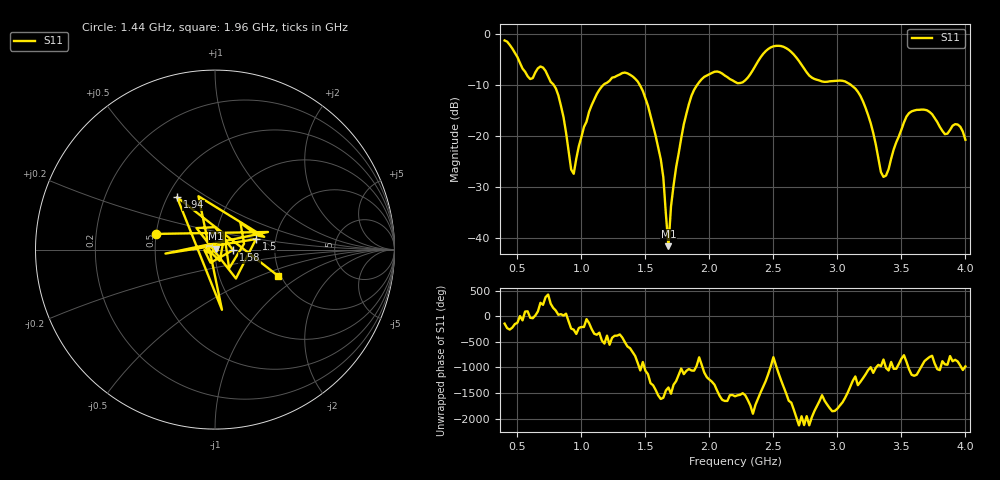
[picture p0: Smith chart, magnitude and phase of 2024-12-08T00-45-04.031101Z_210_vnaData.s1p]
!Created with skrf (http://scikit-rf.org).
# Hz S RI R 50.0
!freq ReS11 ImS11
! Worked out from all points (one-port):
!   181 points, 400 MHz to 4 GHz, reference 50 ohm
!   lowest |S11| = -41.5 dB at 1.68 GHz (marker M1), VSWR 1.02, Z = 50.6 + j0.61 ohm
!   |S11| at or under -10 dB: 784 MHz to 1.171 GHz (387.1 MHz wide, 39.6 % of centre); 1.457 GHz to 1.904 GHz (447.2 MHz wide, 26.6 % of centre); 3.107 GHz to end of sweep
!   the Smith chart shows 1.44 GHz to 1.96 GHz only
!   S11 on the Smith chart (normalised r, x): 1.44 GHz: 0.50, +0.10; 1.5 GHz: 1.58, +0.19; 1.58 GHz: 1.22, -0.01; 1.94 GHz: 0.56, +0.38; 1.96 GHz: 1.93, -0.66
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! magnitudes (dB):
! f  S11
! 400 MHz  -1.3
! 600 MHz  -8.8
! 700 MHz  -6.6
! 860 MHz  -16.2
! 940 MHz  -27.4
! 1.12 GHz  -11.8
! 1.3 GHz  -7.9
! 1.44 GHz  -9.3
! 1.5 GHz  -12.6
! 1.58 GHz  -19.9
! 1.64 GHz  -28.1
! 1.68 GHz  -41.5
! 1.7 GHz  -33.8
! 1.76 GHz  -23.4
! 1.86 GHz  -12.1
! 1.94 GHz  -8.8
! 1.96 GHz  -8.4
! 2.2 GHz  -9.4
! 2.48 GHz  -2.6
! 2.66 GHz  -4.0
! 2.82 GHz  -8.8
! 3.1 GHz  -9.9
! 3.22 GHz  -14.5
! 3.36 GHz  -28.0
! 3.56 GHz  -15.5
! 3.84 GHz  -19.6
! 3.94 GHz  -17.7
! 4 GHz  -20.7
